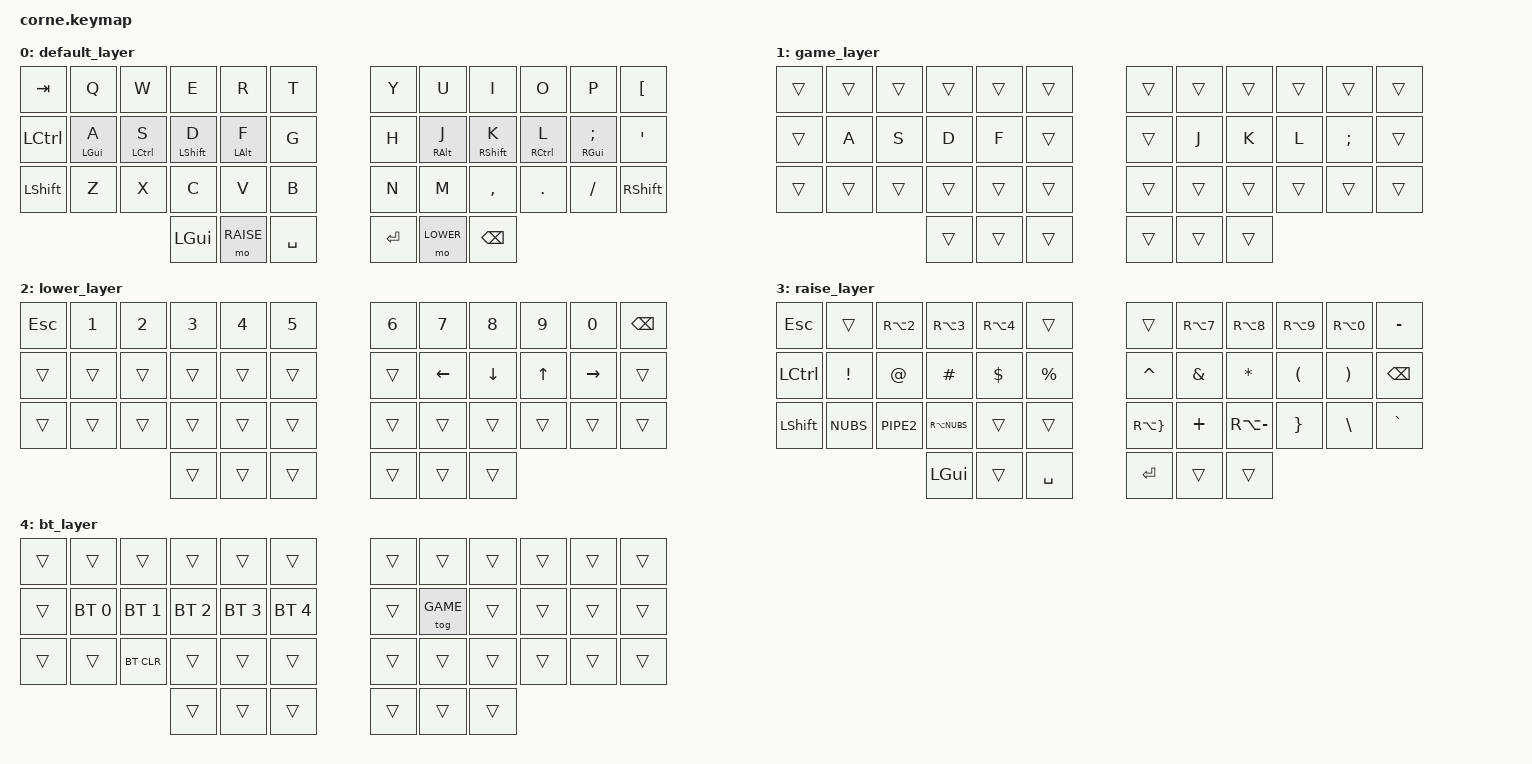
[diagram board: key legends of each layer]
/*
 * Copyright (c) 2020 The ZMK Contributors
 *
 * SPDX-License-Identifier: MIT
 */

#include <behaviors.dtsi>
#include <dt-bindings/zmk/keys.h>
#include <dt-bindings/zmk/bt.h>

#define BASE  0
#define GAME  1
#define LOWER 2
#define RAISE 3
#define BT    4

/ {
        behaviors {
                hml: home_row_mod_left {
                compatible = "zmk,behavior-hold-tap";
                #binding-cells = <2>;
                flavor = "balanced";
                tapping-term-ms = <280>;
                quick-tap-ms = <175>;
                require-prior-idle-ms = <150>;
                bindings = <&kp>, <&kp>;
                hold-trigger-key-positions = <6 7 8 9 10 11 18 19 20 21 22 23 30 31 32 33 34 35 39 40 41>;
                hold-trigger-on-release;
                };

                hmr: home_row_mod_right {
                compatible = "zmk,behavior-hold-tap";
                #binding-cells = <2>;
                flavor = "balanced";
                tapping-term-ms = <280>;
                quick-tap-ms = <175>;
                require-prior-idle-ms = <150>;
                bindings = <&kp>, <&kp>;
                hold-trigger-key-positions = <0 1 2 3 4 5 12 13 14 15 16 17 24 25 26 27 28 29 36 37 38>;
                hold-trigger-on-release;
                };
        };
        combos {
                compatible = "zmk,combos";
                combo_alt {
                        timeout-ms = <50>;
                        key-positions = <37 38>;
                        bindings = <&kp LALT>;
                        slow-release;
                };
                combo_del {
                        timeout-ms = <50>;
                        key-positions = <40 41>;
                        bindings = <&kp DEL>;
                };
        };
        conditional_layers {
                compatible = "zmk,conditional-layers";
                bt_tri_layer {
                        if-layers = <LOWER RAISE>;
                        then-layer = <BT>;
                };
        };
        keymap {
                compatible = "zmk,keymap";

                default_layer {
// -----------------------------------------------------------------------------------------
// |  TAB |  Q  |  W  |  E  |  R  |  T  |   |  Y  |  U   |  I  |  O  |  P  | lbkt |
// | CTRL |  A  |  S  |  D  |  F  |  G  |   |  H  |  J   |  K  |  L  |  ;  |  '   |
// | SHFT |  Z  |  X  |  C  |  V  |  B  |   |  N  |  M   |  ,  |  .  |  /  | shift|
//                    | GUI | LGR | SPC |   | ENT | LGR  | BSP |
                        bindings = <
   &kp TAB   &kp Q       &kp W        &kp E        &kp R       &kp T       &kp Y   &kp U       &kp I         &kp O        &kp P          &kp LBKT
   &kp LCTRL &hml LGUI A &hml LCTRL S &hml LSHFT D &hml LALT F &kp G       &kp H   &hmr RALT J &hmr RSHIFT K &hmr RCTRL L &hmr RGUI SEMI &kp SQT
   &kp LSHFT &kp Z       &kp X        &kp C        &kp V       &kp B       &kp N   &kp M       &kp COMMA     &kp DOT      &kp FSLH       &kp RSHIFT
                                      &kp LGUI     &mo RAISE   &kp SPACE   &kp RET &mo LOWER   &kp BSPC
                        >;
                };
                game_layer {
// -----------------------------------------------------------------------------------------
// |      |     |     |     |     |     |  |    |    |    |    |    |    |  
// |      | A   | S   | D   | F   |     |  |    | J  | K  | L  | ;  |    |
// |      |     |     |     |     |     |  |    |    |    |    |    |    |
//                    |     |     |     |  |    |    |    |
                        bindings = <
   &trans &trans &trans &trans &trans &trans   &trans &trans &trans &trans &trans   &trans
   &trans &kp A  &kp S  &kp D  &kp F  &trans   &trans &kp J  &kp K  &kp L  &kp SEMI &trans
   &trans &trans &trans &trans &trans &trans   &trans &trans &trans &trans &trans   &trans
                        &trans &trans &trans   &trans &trans &trans
                        >;
                };
                lower_layer {
// -----------------------------------------------------------------------------------------
// |  esc |  1  |  2  |  3  |  4  |  5  |   |  6  |  7  |  8  |  9  |  0  | BSPC |
// |      |     |     |     |     |     |   |     | LFT | DOWN|  UP | RGT |      |
// |      |     |     |     |     |     |   |     |     |     |     |     |      |
//                    |     |     |     |   |     |     |     |
                        bindings = <
   &kp ESC &kp N1 &kp N2 &kp N3 &kp N4 &kp N5   &kp N6 &kp N7   &kp N8   &kp N9 &kp N0    &kp BSPC
   &trans  &trans &trans &trans &trans &trans   &trans &kp LEFT &kp DOWN &kp UP &kp RIGHT &trans
   &trans  &trans &trans &trans &trans &trans   &trans &trans   &trans   &trans &trans    &trans
                         &trans &trans &trans   &trans &trans   &trans
                        >;
                };

                raise_layer {
// -----------------------------------------------------------------------------------------
// | ESC  |     |     |     |     |     |   |     |  =  |  [  |  ]  |    |  -   |
// | CTRL |  !  |  @  |  #  |  $  |  %  |   |  ^  |  &  |  *  |  (  |  ) | BSPC |
// | SHFT |  \  |  |  |     |     |     |   |  ~  |  +  |  \  |  }  | \  |  `   |
//                    | GUI |     | SPC |   | ENT |     | ALT |
                        bindings = <
   &kp ESC   &trans  &kp RA(N2) &kp RA(N3)   &kp RA(N4) &trans      &trans       &kp RA(N7) &kp RA(N8)    &kp RA(N9) &kp RA(N0)  &kp MINUS
   &kp LCTRL &kp EXCL &kp AT    &kp HASH     &kp DLLR   &kp PRCNT   &kp CARET    &kp AMPS   &kp ASTRK     &kp LPAR  &kp RPAR     &kp BSPC
   &kp LSHFT &kp NUBS &kp PIPE2 &kp RA(NUBS) &trans     &trans      &kp RA(RBRC) &kp PLUS   &kp RA(MINUS) &kp RBRC  &kp BSLH     &kp GRAVE
                                &kp LGUI     &trans     &kp SPACE   &kp RET   &trans     &trans
                        >;
                };

                bt_layer {
// -----------------------------------------------------------------------------------------
// |      |     |     |     |     |     |  |    |    |    |    |    |    |  
// | CTRL | BT1 | BT2 | BT3 | BT4 | BT5 |  |    |GAME|    |    |    |    |
// |      |     |BTCLR|     |     |     |  |    |    |    |    |    |    |
//                    |     |     |     |  |    |    |    |
                        bindings = <
   &trans &trans       &trans       &trans       &trans       &trans         &trans &trans    &trans &trans &trans &trans
   &trans &bt BT_SEL 0 &bt BT_SEL 1 &bt BT_SEL 2 &bt BT_SEL 3 &bt BT_SEL 4   &trans &tog GAME &trans &trans &trans &trans
   &trans &trans       &bt BT_CLR   &trans       &trans       &trans         &trans &trans    &trans &trans &trans &trans
                                    &trans       &trans       &trans         &trans &trans    &trans
                        >;
                };
        };
};
